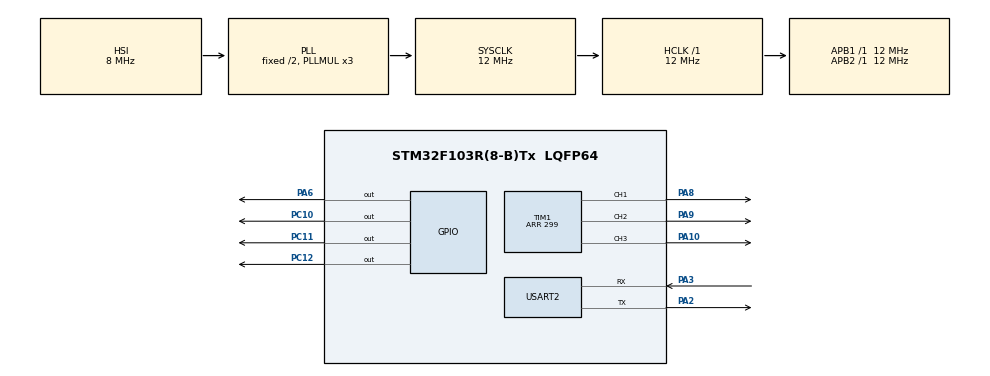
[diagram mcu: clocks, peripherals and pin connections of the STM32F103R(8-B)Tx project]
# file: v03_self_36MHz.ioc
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Mcu.Family=STM32F1
Mcu.Name=STM32F103R(8-B)Tx
Mcu.Package=LQFP64
NVIC.PriorityGroup=NVIC_PRIORITYGROUP_4
NVIC.USART2_IRQn=true\:0\:0\:false\:false\:true\:true\:true\:true
PA10.Signal=S_TIM1_CH3
PA13.Mode=Serial_Wire
PA13.Signal=SYS_JTMS-SWDIO
PA14.Mode=Serial_Wire
PA14.Signal=SYS_JTCK-SWCLK
PA2.Mode=Asynchronous
PA2.Signal=USART2_TX
PA3.Mode=Asynchronous
PA3.Signal=USART2_RX
PA6.Signal=GPIO_Output
PA8.Signal=S_TIM1_CH1
PA9.Signal=S_TIM1_CH2
PC10.Signal=GPIO_Output
PC11.Signal=GPIO_Output
PC12.Signal=GPIO_Output
PD0-OSC_IN.Mode=HSE-External-Oscillator
PD0-OSC_IN.Signal=RCC_OSC_IN
PD1-OSC_OUT.Mode=HSE-External-Oscillator
PD1-OSC_OUT.Signal=RCC_OSC_OUT
ProjectManager.HeapSize=0x200
ProjectManager.StackSize=0x400
ProjectManager.TargetToolchain=MDK-ARM V5.32
RCC.AHBFreq_Value=12000000
RCC.APB1Freq_Value=12000000
RCC.APB1TimFreq_Value=12000000
RCC.APB2Freq_Value=12000000
RCC.APB2TimFreq_Value=12000000
RCC.HCLKFreq_Value=12000000
RCC.PLLMUL=RCC_PLL_MUL3
RCC.SYSCLKFreq_VALUE=12000000
RCC.SYSCLKSource=RCC_SYSCLKSOURCE_PLLCLK
RCC.USBFreq_Value=12000000
SH.S_TIM1_CH1.0=TIM1_CH1,PWM Generation1 CH1
SH.S_TIM1_CH2.0=TIM1_CH2,PWM Generation2 CH2
SH.S_TIM1_CH3.0=TIM1_CH3,PWM Generation3 CH3
TIM1.AutoReloadPreload=TIM_AUTORELOAD_PRELOAD_ENABLE
TIM1.Channel-PWM\ Generation1\ CH1=TIM_CHANNEL_1
TIM1.Channel-PWM\ Generation2\ CH2=TIM_CHANNEL_2
TIM1.Channel-PWM\ Generation3\ CH3=TIM_CHANNEL_3
TIM1.CounterMode=TIM_COUNTERMODE_CENTERALIGNED1
TIM1.Period=299
TIM1.Pulse-PWM\ Generation1\ CH1=0
TIM1.Pulse-PWM\ Generation2\ CH2=0
TIM1.Pulse-PWM\ Generation3\ CH3=0
USART2.VirtualMode=VM_ASYNC
VP_TIM1_VS_ClockSourceINT.Mode=Internal
board=custom

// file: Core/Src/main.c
/* USER CODE BEGIN Header */
/**
  ******************************************************************************
  * @file           : main.c
  * @brief          : Main program body
  ******************************************************************************
  * @attention
  *
  * Copyright (c) 2024 STMicroelectronics.
  * All rights reserved.
  *
  * This software is licensed under terms that can be found in the LICENSE file
  * in the root directory of this software component.
  * If no LICENSE file comes with this software, it is provided AS-IS.
  *
  ******************************************************************************
  */
/* USER CODE END Header */
#include "main.h"
#include "tim.h"
#include "usart.h"
#include "gpio.h"

/* USER CODE BEGIN Includes */
#include <stdio.h>
#include <stdlib.h>
#include "Myproject.h"
/* USER CODE END Includes */

/* USER CODE BEGIN PD */
extern float voltage_power_supply;
extern float voltage_limit;
extern int  pole_pairs;
extern float velocity_limit;
extern MotionControlType controller;
/* USER CODE END PD */

/* USER CODE BEGIN PV */
uint8_t Rx_Buffer[32]; //接收缓存区
uint16_t Rx_Flag = 0;//接收标志位

float target;//电机目标转速
/* USER CODE END PV */

void SystemClock_Config(void);

/* USER CODE BEGIN 0 */
void HAL_UART_RxCpltCallback(UART_HandleTypeDef *huart)//USART接收回调函数
{
	if(huart->Instance == USART2)
	{
		static uint16_t index = 0;

		index++;
		if(Rx_Flag != 2)//接收未完成
		{
			if(Rx_Flag == 1)//接收到了\r
			{
				if(Rx_Buffer[index-1] != '\n')
				{
					Rx_Flag = 0;//接收错误，重新开始
					index = 0;
				}
				else
				{
					Rx_Flag = 2;//接收完成  最后一个字节放'0’
					Rx_Buffer[31]='\0';
					index = 0;
				}
			}
			else
			{
				if(Rx_Buffer[index-1] == '\r') Rx_Flag = 1;
			}

		}
		HAL_UART_Receive_IT(&huart2,Rx_Buffer+index,1);
	}
}

void commander_run(void)
{
	if(Rx_Flag == 2)
	{
		if(Rx_Buffer[0] == 'T')
		{
			target=atof((const char *)(Rx_Buffer+1));
			printf ("Rx=%.4f\r\n",target);
		}
		else
		{
			printf ("input error\r\n");
		}
		Rx_Flag = 0;
	}
}
/* USER CODE END 0 */

int main(void)
{

  /* MCU Configuration--------------------------------------------------------*/

  /* Reset of all peripherals, Initializes the Flash interface and the Systick. */
  HAL_Init();

  /* Configure the system clock */
  SystemClock_Config();

  /* Initialize all configured peripherals */
  MX_GPIO_Init();
  MX_USART2_UART_Init();
  MX_TIM1_Init();
  /* USER CODE BEGIN 2 */
  //电机启动信息
  voltage_power_supply=24;   //V
  voltage_limit=3;         //V，最大值需小于12/1.732=6.9。大功率航模电机设置的小一点0.5-1；小功率云台电机设置的大一点1-3
  velocity_limit=20;         //rad/s angleOpenloop() use it
  controller=Type_velocity_openloop;  //Type_velocity_openloop; //Type_angle_openloop;
  pole_pairs=7;              //极对数

  HAL_TIM_PWM_Start(&htim1,TIM_CHANNEL_1);
  HAL_TIM_PWM_Start(&htim1,TIM_CHANNEL_2);
  HAL_TIM_PWM_Start(&htim1,TIM_CHANNEL_3);

  //Motor Enable
  HAL_GPIO_WritePin(GPIOC,GPIO_PIN_10,GPIO_PIN_SET);//EN1
  HAL_GPIO_WritePin(GPIOC,GPIO_PIN_11,GPIO_PIN_SET);//EN2
  HAL_GPIO_WritePin(GPIOC,GPIO_PIN_12,GPIO_PIN_SET);//EN3
  HAL_GPIO_WritePin(GPIOA,GPIO_PIN_6,GPIO_PIN_SET);//DIAG/EN——全桥使能

  printf("Motor Ready.\r\n");

  HAL_UART_Receive_IT(&huart2,Rx_Buffer,1);

  target = 10;//初始转速
  /* USER CODE END 2 */

  /* Infinite loop */
  while (1)
  {

    /* USER CODE BEGIN 3 */
	commander_run();
	move(target);
	//HAL_Delay(10);
  }
  /* USER CODE END 3 */
}

void SystemClock_Config(void)
{
  RCC_OscInitTypeDef RCC_OscInitStruct = {0};
  RCC_ClkInitTypeDef RCC_ClkInitStruct = {0};

  /** Initializes the RCC Oscillators according to the specified parameters
  * in the RCC_OscInitTypeDef structure.
  */
  RCC_OscInitStruct.OscillatorType = RCC_OSCILLATORTYPE_HSI;
  RCC_OscInitStruct.HSIState = RCC_HSI_ON;
  RCC_OscInitStruct.HSICalibrationValue = RCC_HSICALIBRATION_DEFAULT;
  RCC_OscInitStruct.PLL.PLLState = RCC_PLL_ON;
  RCC_OscInitStruct.PLL.PLLSource = RCC_PLLSOURCE_HSI_DIV2;
  RCC_OscInitStruct.PLL.PLLMUL = RCC_PLL_MUL3;
  if (HAL_RCC_OscConfig(&RCC_OscInitStruct) != HAL_OK)
  {
    Error_Handler();
  }

  /** Initializes the CPU, AHB and APB buses clocks
  */
  RCC_ClkInitStruct.ClockType = RCC_CLOCKTYPE_HCLK|RCC_CLOCKTYPE_SYSCLK
                              |RCC_CLOCKTYPE_PCLK1|RCC_CLOCKTYPE_PCLK2;
  RCC_ClkInitStruct.SYSCLKSource = RCC_SYSCLKSOURCE_PLLCLK;
  RCC_ClkInitStruct.AHBCLKDivider = RCC_SYSCLK_DIV1;
  RCC_ClkInitStruct.APB1CLKDivider = RCC_HCLK_DIV1;
  RCC_ClkInitStruct.APB2CLKDivider = RCC_HCLK_DIV1;

  if (HAL_RCC_ClockConfig(&RCC_ClkInitStruct, FLASH_LATENCY_0) != HAL_OK)
  {
    Error_Handler();
  }
}

void Error_Handler(void)
{
  __disable_irq();
  while (1)
  {
  }
}
